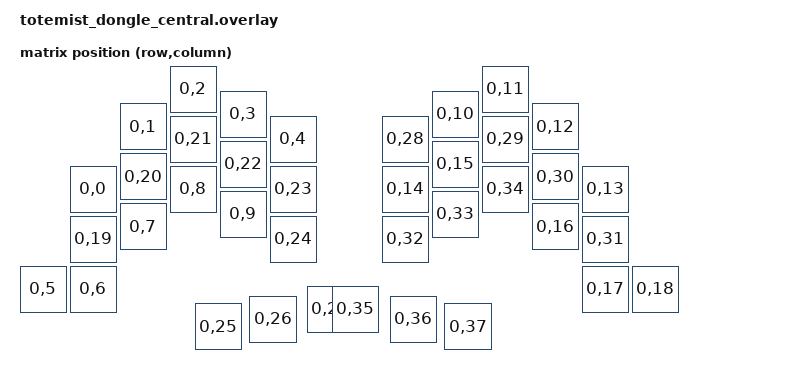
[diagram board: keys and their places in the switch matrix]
#include <physical_layouts.dtsi>
#include <dt-bindings/zmk/matrix_transform.h>
#include <dt-bindings/led/led.h>

/ {
    chosen {
        zmk,kscan = &mock_kscan;
        zmk,physical-layout = &default_layout;
        zephyr,display = &oled;
        zmk,underglow = &led_strip;
    };

    mock_kscan: mock_kscan {
        compatible = "zmk,kscan-mock";
        rows = <0>;
        columns = <0>;
        events = <>;
    };

    /*
     * 38 keys: left 19 (0-18), right 19 (19-37)
     *
     * Row 0 (5+5):  [0..4]   [19..23]
     * Row 1 (5+5):  [5..9]   [24..28]
     * Row 2 (6+6):  [10..15] [29..34]
     * Thumbs (3+3): [16..18] [35..37]
     */
    default_transform: keymap_transform_0 {
        compatible = "zmk,matrix-transform";
        columns = <38>;
        rows = <1>;
        map = <
            RC(0,0)  RC(0,1)  RC(0,2)  RC(0,3)  RC(0,4)            RC(0,19) RC(0,20) RC(0,21) RC(0,22) RC(0,23)
            RC(0,5)  RC(0,6)  RC(0,7)  RC(0,8)  RC(0,9)            RC(0,24) RC(0,25) RC(0,26) RC(0,27) RC(0,28)
            RC(0,10) RC(0,11) RC(0,12) RC(0,13) RC(0,14) RC(0,15)  RC(0,29) RC(0,30) RC(0,31) RC(0,32) RC(0,33) RC(0,34)
                                        RC(0,16) RC(0,17) RC(0,18)  RC(0,35) RC(0,36) RC(0,37)
        >;
    };

    default_layout: default_layout {
        compatible = "zmk,physical-layout";
        display-name = "Default";
        transform = <&default_transform>;
        keys //                     w    h    x    y  rot  rx  ry
            = <&key_physical_attrs 100  100  100  200    0   0   0>  /* Q  */
            , <&key_physical_attrs 100  100  200   75    0   0   0>  /* W  */
            , <&key_physical_attrs 100  100  300    0    0   0   0>  /* E  */
            , <&key_physical_attrs 100  100  400   50    0   0   0>  /* R  */
            , <&key_physical_attrs 100  100  500  100    0   0   0>  /* T  */
            , <&key_physical_attrs 100  100  100  300    0   0   0>  /* A  */
            , <&key_physical_attrs 100  100  200  175    0   0   0>  /* S  */
            , <&key_physical_attrs 100  100  300  100    0   0   0>  /* D  */
            , <&key_physical_attrs 100  100  400  150    0   0   0>  /* F  */
            , <&key_physical_attrs 100  100  500  200    0   0   0>  /* G  */
            , <&key_physical_attrs 100  100    0  400    0   0   0>  /* LB5 (none) */
            , <&key_physical_attrs 100  100  100  400    0   0   0>  /* Z  */
            , <&key_physical_attrs 100  100  200  275    0   0   0>  /* X  */
            , <&key_physical_attrs 100  100  300  200    0   0   0>  /* C  */
            , <&key_physical_attrs 100  100  400  250    0   0   0>  /* V  */
            , <&key_physical_attrs 100  100  500  300    0   0   0>  /* B  */
            , <&key_physical_attrs 100  100  350  475    0   0   0>  /* lalt */
            , <&key_physical_attrs 100  100  460  460    0   0   0>  /* mo1 */
            , <&key_physical_attrs 100  100  575  440    0   0   0>  /* space */
            , <&key_physical_attrs 100  100  725  100    0   0   0>  /* Y  */
            , <&key_physical_attrs 100  100  825   50    0   0   0>  /* U  */
            , <&key_physical_attrs 100  100  925    0    0   0   0>  /* I  */
            , <&key_physical_attrs 100  100 1025   75    0   0   0>  /* O  */
            , <&key_physical_attrs 100  100 1125  200    0   0   0>  /* P  */
            , <&key_physical_attrs 100  100  725  200    0   0   0>  /* H  */
            , <&key_physical_attrs 100  100  825  150    0   0   0>  /* J  */
            , <&key_physical_attrs 100  100  925  100    0   0   0>  /* K  */
            , <&key_physical_attrs 100  100 1025  175    0   0   0>  /* L  */
            , <&key_physical_attrs 100  100 1125  300    0   0   0>  /* ;  */
            , <&key_physical_attrs 100  100  725  300    0   0   0>  /* N  */
            , <&key_physical_attrs 100  100  825  250    0   0   0>  /* M  */
            , <&key_physical_attrs 100  100  925  200    0   0   0>  /* ,  */
            , <&key_physical_attrs 100  100 1025  275    0   0   0>  /* .  */
            , <&key_physical_attrs 100  100 1125  400    0   0   0>  /* /  */
            , <&key_physical_attrs 100  100 1225  400    0   0   0>  /* RB5 (none) */
            , <&key_physical_attrs 100  100  625  440    0   0   0>  /* ret */
            , <&key_physical_attrs 100  100  740  460    0   0   0>  /* mo2 */
            , <&key_physical_attrs 100  100  850  475    0   0   0>  /* ralt */
            ;
    };
};

&pinctrl {
    i2c0_default: i2c0_default {
        group1 {
            psels = <NRF_PSEL(TWIM_SDA, 0, 17)>,
                <NRF_PSEL(TWIM_SCL, 0, 20)>;
        };
    };

    i2c0_sleep: i2c0_sleep {
        group1 {
            psels = <NRF_PSEL(TWIM_SDA, 0, 17)>,
                <NRF_PSEL(TWIM_SCL, 0, 20)>;
            low-power-enable;
        };
    };
};

&i2c0 {
    status = "okay";
    compatible = "nordic,nrf-twi";
    pinctrl-0 = <&i2c0_default>;
    pinctrl-1 = <&i2c0_sleep>;
    oled: sh1106@3c {
        compatible = "sinowealth,sh1106";
        reg = <0x3c>;
        width = <128>;
        height = <64>;
        segment-offset = <2>;
        page-offset = <0>;
        display-offset = <0>;
        multiplex-ratio = <63>;
        segment-remap;
        com-invdir;
        inversion-on;
        prechargep = <0x22>;
    };
};

&pinctrl {
    spi3_default: spi3_default {
        group1 {
            psels = <NRF_PSEL(SPIM_MOSI, 1, 4)>;
        };
    };

    spi3_sleep: spi3_sleep {
        group1 {
            psels = <NRF_PSEL(SPIM_MOSI, 1, 4)>;
            low-power-enable;
        };
    };
};

&spi3 {
    compatible = "nordic,nrf-spim";
    status = "okay";
    pinctrl-0 = <&spi3_default>;
    pinctrl-1 = <&spi3_sleep>;
    pinctrl-names = "default", "sleep";

    led_strip: ws2812@0 {
        compatible = "worldsemi,ws2812-spi";
        reg = <0>;
        spi-max-frequency = <4000000>;
        chain-length = <1>;
        spi-one-frame = <0x70>;
        spi-zero-frame = <0x40>;
        color-mapping = <
            LED_COLOR_ID_GREEN
            LED_COLOR_ID_RED
            LED_COLOR_ID_BLUE
        >;
    };
};
